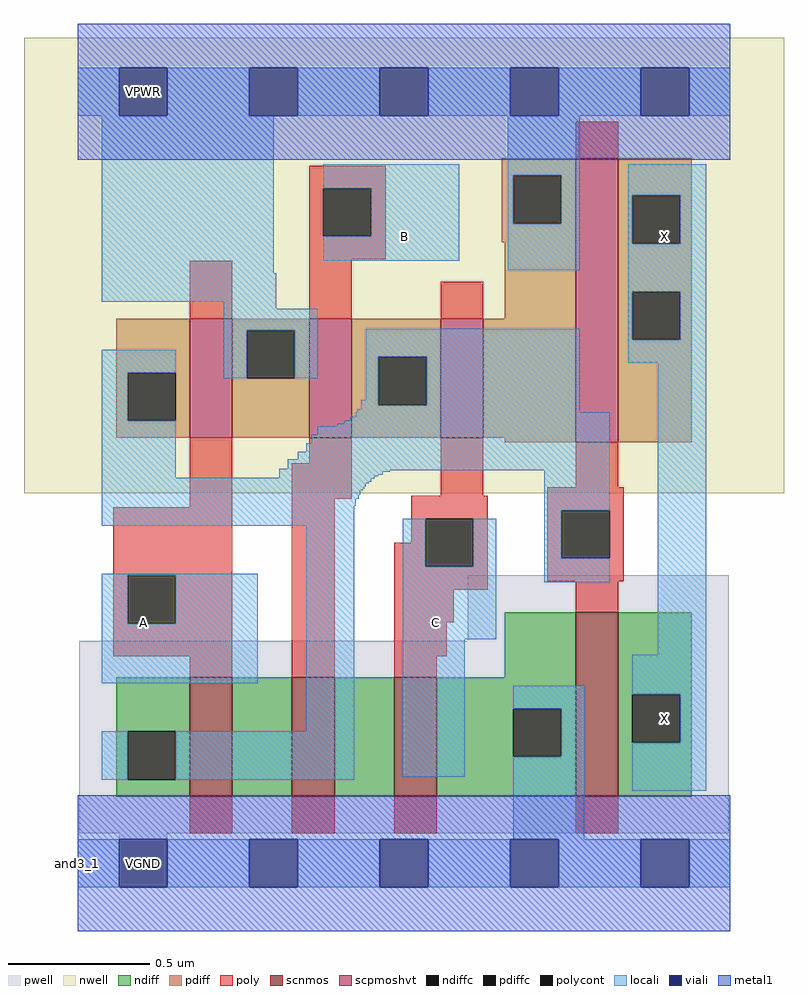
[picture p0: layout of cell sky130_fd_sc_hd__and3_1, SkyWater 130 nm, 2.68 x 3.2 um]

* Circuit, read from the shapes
.subckt sky130_fd_sc_hd__and3_1 VGND VPWR VPB VNB X C B A
XM1 n1 A n2 VNB sky130_fd_pr__nfet_01v8 w=0.42 l=0.15
XM2 n3 B n1 VNB sky130_fd_pr__nfet_01v8 w=0.42 l=0.15
XM3 VGND C n3 VNB sky130_fd_pr__nfet_01v8 w=0.42 l=0.15
XM4 X n2 VGND VNB sky130_fd_pr__nfet_01v8 w=0.65 l=0.15
XM5 VPWR A n2 VPB sky130_fd_pr__pfet_01v8_hvt w=0.42 l=0.15
XM6 n2 B VPWR VPB sky130_fd_pr__pfet_01v8_hvt w=0.42 l=0.15
XM7 VPWR C n2 VPB sky130_fd_pr__pfet_01v8_hvt w=0.42 l=0.15
XM8 X n2 VPWR VPB sky130_fd_pr__pfet_01v8_hvt w=1 l=0.15
.ends

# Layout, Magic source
magic
tech sky130B
magscale 1 2
<< nwell >>
rect -38 221 498 542
<< pwell >>
rect 275 117 459 163
rect 1 -19 459 117
rect 29 -57 63 -19
<< scnmos >>
rect 79 7 109 91
rect 151 7 181 91
rect 223 7 253 91
rect 351 7 381 137
<< scpmoshvt >>
rect 79 260 109 344
rect 163 260 193 344
rect 256 260 286 344
rect 351 257 381 457
<< ndiff >>
rect 301 91 351 137
rect 27 53 79 91
rect 27 19 35 53
rect 69 19 79 53
rect 27 7 79 19
rect 109 7 151 91
rect 181 7 223 91
rect 253 69 351 91
rect 253 35 307 69
rect 341 35 351 69
rect 253 7 351 35
rect 381 79 433 137
rect 381 45 391 79
rect 425 45 433 79
rect 381 7 433 45
<< pdiff >>
rect 299 445 351 457
rect 299 411 307 445
rect 341 411 351 445
rect 299 398 351 411
rect 301 344 351 398
rect 27 306 79 344
rect 27 272 35 306
rect 69 272 79 306
rect 27 260 79 272
rect 109 336 163 344
rect 109 302 119 336
rect 153 302 163 336
rect 109 260 163 302
rect 193 317 256 344
rect 193 283 212 317
rect 246 283 256 317
rect 193 260 256 283
rect 286 260 351 344
rect 301 257 351 260
rect 381 431 433 457
rect 381 397 391 431
rect 425 397 433 431
rect 381 363 433 397
rect 381 329 391 363
rect 425 329 433 363
rect 381 257 433 329
<< ndiffc >>
rect 35 19 69 53
rect 307 35 341 69
rect 391 45 425 79
<< pdiffc >>
rect 307 411 341 445
rect 35 272 69 306
rect 119 302 153 336
rect 212 283 246 317
rect 391 397 425 431
rect 391 329 425 363
<< poly >>
rect 351 457 381 483
rect 163 436 217 452
rect 163 402 173 436
rect 207 402 217 436
rect 163 386 217 402
rect 79 344 109 385
rect 163 344 193 386
rect 256 344 286 370
rect 79 211 109 260
rect 163 242 193 260
rect 25 163 109 211
rect 25 129 35 163
rect 69 129 109 163
rect 25 106 109 129
rect 79 91 109 106
rect 151 217 193 242
rect 256 219 286 260
rect 351 225 381 257
rect 151 91 181 217
rect 235 203 289 219
rect 235 186 245 203
rect 223 169 245 186
rect 279 169 289 203
rect 223 153 289 169
rect 331 209 385 225
rect 331 175 341 209
rect 375 175 385 209
rect 331 159 385 175
rect 223 130 265 153
rect 351 137 381 159
rect 223 106 260 130
rect 223 91 253 106
rect 79 -19 109 7
rect 151 -19 181 7
rect 223 -19 253 7
rect 351 -19 381 7
<< polycont >>
rect 173 402 207 436
rect 35 129 69 163
rect 245 169 279 203
rect 341 175 375 209
<< locali >>
rect 0 487 29 521
rect 63 487 121 521
rect 155 487 213 521
rect 247 487 305 521
rect 339 487 397 521
rect 431 487 460 521
rect 17 376 138 487
rect 173 436 269 453
rect 207 402 269 436
rect 173 385 269 402
rect 303 445 354 487
rect 303 411 307 445
rect 341 411 354 445
rect 303 378 354 411
rect 388 431 443 453
rect 388 397 391 431
rect 425 397 443 431
rect 17 356 140 376
rect 103 351 140 356
rect 388 363 443 397
rect 103 336 169 351
rect 17 306 69 322
rect 17 272 35 306
rect 103 302 119 336
rect 153 302 169 336
rect 203 317 354 337
rect 203 287 212 317
rect 200 283 212 287
rect 246 283 354 317
rect 388 329 391 363
rect 425 329 443 363
rect 388 313 443 329
rect 200 280 354 283
rect 197 278 354 280
rect 196 275 375 278
rect 192 272 375 275
rect 17 232 69 272
rect 188 270 375 272
rect 183 268 375 270
rect 169 262 375 268
rect 165 256 375 262
rect 161 250 375 256
rect 155 245 375 250
rect 148 238 375 245
rect 142 237 375 238
rect 142 236 220 237
rect 142 234 215 236
rect 142 233 212 234
rect 142 232 209 233
rect 17 231 209 232
rect 17 229 207 231
rect 17 228 205 229
rect 17 226 203 228
rect 17 224 202 226
rect 17 223 201 224
rect 17 220 199 223
rect 17 217 198 220
rect 17 212 196 217
rect 17 198 195 212
rect 329 209 375 237
rect 17 163 127 164
rect 17 129 35 163
rect 69 129 127 163
rect 17 87 127 129
rect 161 53 195 198
rect 17 19 35 53
rect 69 19 195 53
rect 229 169 245 203
rect 279 169 295 203
rect 229 118 295 169
rect 329 175 341 209
rect 329 158 375 175
rect 229 21 273 118
rect 409 107 443 313
rect 307 69 357 85
rect 341 35 357 69
rect 307 -23 357 35
rect 391 79 443 107
rect 425 45 443 79
rect 391 11 443 45
rect 0 -57 29 -23
rect 63 -57 121 -23
rect 155 -57 213 -23
rect 247 -57 305 -23
rect 339 -57 397 -23
rect 431 -57 460 -23
<< viali >>
rect 29 487 63 521
rect 121 487 155 521
rect 213 487 247 521
rect 305 487 339 521
rect 397 487 431 521
rect 29 -57 63 -23
rect 121 -57 155 -23
rect 213 -57 247 -23
rect 305 -57 339 -23
rect 397 -57 431 -23
<< metal1 >>
rect 0 521 460 552
rect 0 487 29 521
rect 63 487 121 521
rect 155 487 213 521
rect 247 487 305 521
rect 339 487 397 521
rect 431 487 460 521
rect 0 456 460 487
rect 0 -23 460 8
rect 0 -57 29 -23
rect 63 -57 121 -23
rect 155 -57 213 -23
rect 247 -57 305 -23
rect 339 -57 397 -23
rect 431 -57 460 -23
rect 0 -88 460 -57
<< labels >>
rlabel comment s 0 -40 0 -40 4 and3_1
flabel metal1 s 29 -57 63 -23 0 FreeSans 200 0 0 0 VGND
port 2 nsew
flabel metal1 s 29 487 63 521 0 FreeSans 200 0 0 0 VPWR
port 3 nsew
flabel nwell s 29 487 63 521 0 FreeSans 200 0 0 0 VPB
port 5 nsew
flabel pwell s 29 -57 63 -23 0 FreeSans 200 0 0 0 VNB
port 6 nsew
flabel locali s 397 385 431 419 0 FreeSans 200 0 0 0 X
port 7 nsew
flabel locali s 397 45 431 79 0 FreeSans 200 0 0 0 X
port 7 nsew
flabel locali s 213 385 247 419 0 FreeSans 400 0 0 0 B
port 9 nsew
flabel locali s 29 113 63 147 0 FreeSans 400 0 0 0 A
port 10 nsew
flabel locali s 235 113 269 147 0 FreeSans 400 0 0 0 C
port 8 nsew
<< properties >>
string FIXED_BBOX 0 -40 460 504
string path 0.000 -1.000 11.500 -1.000 
<< end >>
